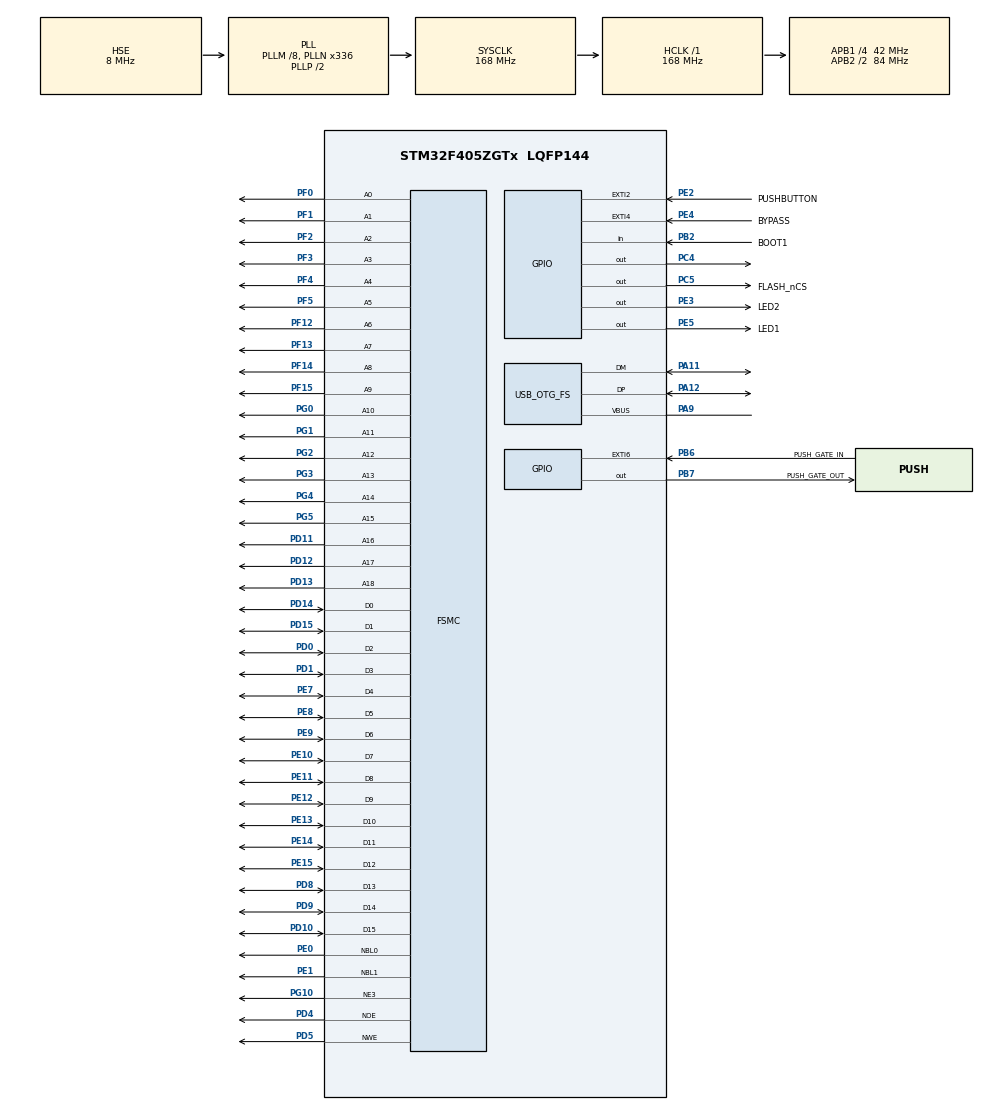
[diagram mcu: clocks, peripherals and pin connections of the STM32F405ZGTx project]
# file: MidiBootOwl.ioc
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FSMC.AddressSetupTime1=2
FSMC.BusTurnAroundDuration1=1
FSMC.DataSetupTime1=2
FSMC.ExtendedMode1=FSMC_EXTENDED_MODE_DISABLE
FSMC.WriteOperation1=FSMC_WRITE_OPERATION_ENABLE
IWDG.Prescaler=IWDG_PRESCALER_128
IWDG.Reload=8*(30000/128)
Mcu.Family=STM32F4
Mcu.Name=STM32F405ZGTx
Mcu.Package=LQFP144
NVIC.EXTI2_IRQn=true\:10\:0\:true\:false\:true\:true\:true
NVIC.OTG_FS_IRQn=true\:0\:0\:false\:false\:true\:true\:true
NVIC.PriorityGroup=NVIC_PRIORITYGROUP_4
PA11.Mode=Device_Only
PA11.Signal=USB_OTG_FS_DM
PA12.Mode=Device_Only
PA12.Signal=USB_OTG_FS_DP
PA13.Mode=Trace_Asynchronous_SW
PA13.Signal=SYS_JTMS-SWDIO
PA14.Mode=Trace_Asynchronous_SW
PA14.Signal=SYS_JTCK-SWCLK
PA9.Mode=Activate_VBUS
PA9.Signal=USB_OTG_FS_VBUS
PB2.GPIO_Label=BOOT1
PB2.Signal=GPIO_Input
PB3.Mode=Trace_Asynchronous_SW
PB3.Signal=SYS_JTDO-SWO
PB6.GPIO_Label=PUSH_GATE_IN
PB6.GPIO_ModeDefaultEXTI=GPIO_MODE_IT_RISING_FALLING
PB6.GPIO_PuPd=GPIO_PULLUP
PB6.Signal=GPXTI6
PB7.GPIO_Label=PUSH_GATE_OUT
PB7.Signal=GPIO_Output
PC4.Signal=GPIO_Output
PC5.GPIO_Label=FLASH_nCS
PC5.Signal=GPIO_Output
PD0.Signal=FSMC_D2_DA2
PD1.Signal=FSMC_D3_DA3
PD10.Signal=FSMC_D15_DA15
PD11.Signal=FSMC_A16_CLE
PD12.Signal=FSMC_A17_ALE
PD13.Signal=FSMC_A18
PD14.Signal=FSMC_D0_DA0
PD15.Signal=FSMC_D1_DA1
PD4.Signal=FSMC_NOE
PD5.Signal=FSMC_NWE
PD8.Signal=FSMC_D13_DA13
PD9.Signal=FSMC_D14_DA14
PE0.Signal=FSMC_NBL0
PE1.Signal=FSMC_NBL1
PE10.Signal=FSMC_D7_DA7
PE11.Signal=FSMC_D8_DA8
PE12.Signal=FSMC_D9_DA9
PE13.Signal=FSMC_D10_DA10
PE14.Signal=FSMC_D11_DA11
PE15.Signal=FSMC_D12_DA12
PE2.GPIO_Label=PUSHBUTTON
PE2.GPIO_ModeDefaultEXTI=GPIO_MODE_IT_RISING_FALLING
PE2.GPIO_PuPd=GPIO_PULLUP
PE2.Signal=GPXTI2
PE3.GPIO_Label=LED2
PE3.Signal=GPIO_Output
PE4.GPIO_Label=BYPASS
PE4.GPIO_ModeDefaultEXTI=GPIO_MODE_IT_RISING_FALLING
PE4.GPIO_PuPd=GPIO_PULLUP
PE4.Signal=GPXTI4
PE5.GPIO_Label=LED1
PE5.Signal=GPIO_Output
PE7.Signal=FSMC_D4_DA4
PE8.Signal=FSMC_D5_DA5
PE9.Signal=FSMC_D6_DA6
PF0.Signal=FSMC_A0
PF1.Signal=FSMC_A1
PF12.Signal=FSMC_A6
PF13.Signal=FSMC_A7
PF14.Signal=FSMC_A8
PF15.Signal=FSMC_A9
PF2.Signal=FSMC_A2
PF3.Signal=FSMC_A3
PF4.Signal=FSMC_A4
PF5.Signal=FSMC_A5
PG0.Signal=FSMC_A10
PG1.Signal=FSMC_A11
PG10.Mode=NorPsramChipSelect3_1
PG10.Signal=FSMC_NE3
PG2.Signal=FSMC_A12
PG3.Signal=FSMC_A13
PG4.Signal=FSMC_A14
PG5.Signal=FSMC_A15
PH0-OSC_IN.Mode=HSE-External-Oscillator
PH0-OSC_IN.Signal=RCC_OSC_IN
PH1-OSC_OUT.Mode=HSE-External-Oscillator
PH1-OSC_OUT.Signal=RCC_OSC_OUT
ProjectManager.HeapSize=0x200
ProjectManager.StackSize=0x400
ProjectManager.TargetToolchain=Makefile
RCC.48MHZClocksFreq_Value=48000000
RCC.AHBFreq_Value=168000000
RCC.APB1CLKDivider=RCC_HCLK_DIV4
RCC.APB1Freq_Value=42000000
RCC.APB1TimFreq_Value=84000000
RCC.APB2CLKDivider=RCC_HCLK_DIV2
RCC.APB2Freq_Value=84000000
RCC.APB2TimFreq_Value=168000000
RCC.CortexFreq_Value=168000000
RCC.HCLKFreq_Value=168000000
RCC.HSE_VALUE=8000000
RCC.HSI_VALUE=16000000
RCC.LSE_VALUE=32768
RCC.PLLI2SN=258
RCC.PLLI2SR=3
RCC.PLLM=8
RCC.PLLN=336
RCC.PLLQ=7
RCC.SYSCLKFreq_VALUE=168000000
RCC.SYSCLKSource=RCC_SYSCLKSOURCE_PLLCLK
RCC.VCOOutputFreq_Value=336000000
SH.FSMC_A0.0=FSMC_A0,19b-a1
SH.FSMC_A1.0=FSMC_A1,19b-a1
SH.FSMC_A10.0=FSMC_A10,19b-a1
SH.FSMC_A11.0=FSMC_A11,19b-a1
SH.FSMC_A12.0=FSMC_A12,19b-a1
SH.FSMC_A13.0=FSMC_A13,19b-a1
SH.FSMC_A14.0=FSMC_A14,19b-a1
SH.FSMC_A15.0=FSMC_A15,19b-a1
SH.FSMC_A16_CLE.0=FSMC_A16,19b-a1
SH.FSMC_A17_ALE.0=FSMC_A17,19b-a1
SH.FSMC_A18.0=FSMC_A18,19b-a1
SH.FSMC_A2.0=FSMC_A2,19b-a1
SH.FSMC_A3.0=FSMC_A3,19b-a1
SH.FSMC_A4.0=FSMC_A4,19b-a1
SH.FSMC_A5.0=FSMC_A5,19b-a1
SH.FSMC_A6.0=FSMC_A6,19b-a1
SH.FSMC_A7.0=FSMC_A7,19b-a1
SH.FSMC_A8.0=FSMC_A8,19b-a1
SH.FSMC_A9.0=FSMC_A9,19b-a1
SH.FSMC_D0_DA0.0=FSMC_D0,16b-d1
SH.FSMC_D10_DA10.0=FSMC_D10,16b-d1
SH.FSMC_D11_DA11.0=FSMC_D11,16b-d1
SH.FSMC_D12_DA12.0=FSMC_D12,16b-d1
SH.FSMC_D13_DA13.0=FSMC_D13,16b-d1
SH.FSMC_D14_DA14.0=FSMC_D14,16b-d1
SH.FSMC_D15_DA15.0=FSMC_D15,16b-d1
SH.FSMC_D1_DA1.0=FSMC_D1,16b-d1
SH.FSMC_D2_DA2.0=FSMC_D2,16b-d1
SH.FSMC_D3_DA3.0=FSMC_D3,16b-d1
SH.FSMC_D4_DA4.0=FSMC_D4,16b-d1
SH.FSMC_D5_DA5.0=FSMC_D5,16b-d1
SH.FSMC_D6_DA6.0=FSMC_D6,16b-d1
SH.FSMC_D7_DA7.0=FSMC_D7,16b-d1
SH.FSMC_D8_DA8.0=FSMC_D8,16b-d1
SH.FSMC_D9_DA9.0=FSMC_D9,16b-d1
SH.FSMC_NBL0.0=FSMC_NBL0,2ByteEnable1
SH.FSMC_NBL1.0=FSMC_NBL1,2ByteEnable1
SH.FSMC_NOE.0=FSMC_NOE,Sram1
SH.FSMC_NWE.0=FSMC_NWE,Sram1
USB_DEVICE.CLASS_NAME_FS=AUDIO
USB_DEVICE.MANUFACTURER_STRING-AUDIO_FS=Rebel Technology
USB_DEVICE.PID_AUDIO_FS=0xDADA
USB_DEVICE.PRODUCT_STRING_AUDIO_FS=OWL-MIDI
USB_DEVICE.SERIALNUMBER_STRING_AUDIO_FS=00000000010A
USB_DEVICE.VID-AUDIO_FS=0x1209
USB_DEVICE.VirtualMode-AUDIO_FS=Audio
USB_DEVICE.VirtualModeFS=Audio_FS
USB_OTG_FS.VirtualMode=Device_Only
VP_IWDG_VS_IWDG.Mode=IWDG_Activate
VP_USB_DEVICE_VS_USB_DEVICE_AUDIO_FS.Mode=AUDIO_FS
board=OwlPedal

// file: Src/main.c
/* USER CODE BEGIN Header */
/**
  ******************************************************************************
  * @file           : main.c
  * @brief          : Main program body
  ******************************************************************************
  * @attention
  *
  * <h2><center>&copy; Copyright (c) 2020 STMicroelectronics.
  * All rights reserved.</center></h2>
  *
  * This software component is licensed by ST under Ultimate Liberty license
  * SLA0044, the "License"; You may not use this file except in compliance with
  * the License. You may obtain a copy of the License at:
  *                             www.st.com/SLA0044
  *
  ******************************************************************************
  */
/* USER CODE END Header */

#include "main.h"
#include "usb_device.h"

/* USER CODE BEGIN Includes */
#include "device.h"
#include "errorhandlers.h"
/* USER CODE END Includes */

IWDG_HandleTypeDef hiwdg;

SRAM_HandleTypeDef hsram1;

/* USER CODE BEGIN PV */
/* Private variables ---------------------------------------------------------*/

/* USER CODE END PV */

void SystemClock_Config(void);
static void MX_GPIO_Init(void);
static void MX_FSMC_Init(void);
static void MX_IWDG_Init(void);
/* USER CODE BEGIN PFP */
/* Private function prototypes -----------------------------------------------*/

static void SDRAM_Init(void){
    /*##-1- Configure the SRAM device ##########################################*/
  /* SRAM device configuration */
  hsram1.Instance  = FSMC_NORSRAM_DEVICE;
  hsram1.Extended  = FSMC_NORSRAM_EXTENDED_DEVICE;

  FSMC_NORSRAM_TimingTypeDef Timing;

  Timing.AddressSetupTime       = 2;
  Timing.AddressHoldTime        = 1;
  Timing.DataSetupTime          = 2;
  Timing.BusTurnAroundDuration  = 1;
  Timing.CLKDivision            = 2;
  Timing.DataLatency            = 2;
  Timing.AccessMode             = FSMC_ACCESS_MODE_A;

  hsram1.Init.NSBank             = FSMC_NORSRAM_BANK3;
  hsram1.Init.DataAddressMux     = FSMC_DATA_ADDRESS_MUX_DISABLE;
  hsram1.Init.MemoryType         = FSMC_MEMORY_TYPE_SRAM;
  hsram1.Init.MemoryDataWidth    = FSMC_NORSRAM_MEM_BUS_WIDTH_16;// = SRAM_MEMORY_WIDTH;
  hsram1.Init.BurstAccessMode    = FSMC_BURST_ACCESS_MODE_DISABLE;
  hsram1.Init.WaitSignalPolarity = FSMC_WAIT_SIGNAL_POLARITY_LOW;
  hsram1.Init.WrapMode           = FSMC_WRAP_MODE_DISABLE;
  hsram1.Init.WaitSignalActive   = FSMC_WAIT_TIMING_BEFORE_WS;
  hsram1.Init.WriteOperation     = FSMC_WRITE_OPERATION_ENABLE;
  hsram1.Init.WaitSignal         = FSMC_WAIT_SIGNAL_DISABLE;
  hsram1.Init.ExtendedMode       = FSMC_EXTENDED_MODE_DISABLE;
  hsram1.Init.AsynchronousWait   = FSMC_ASYNCHRONOUS_WAIT_DISABLE;
  hsram1.Init.WriteBurst         = FSMC_WRITE_BURST_DISABLE;

  if (HAL_SRAM_Init(&hsram1, &Timing, NULL) != HAL_OK)
  {
    Error_Handler();
  }
}

void SystemInit_ExtMemCtl(void)
{
  __HAL_RCC_FSMC_CLK_ENABLE();
  __HAL_RCC_GPIOD_CLK_ENABLE();
  __HAL_RCC_GPIOE_CLK_ENABLE();
  __HAL_RCC_GPIOF_CLK_ENABLE();
  __HAL_RCC_GPIOG_CLK_ENABLE();

  GPIO_InitTypeDef GPIO_InitStruct;
  GPIO_InitStruct.Mode = GPIO_MODE_AF_PP;
  GPIO_InitStruct.Pull = GPIO_NOPULL;
  GPIO_InitStruct.Speed = GPIO_SPEED_FREQ_VERY_HIGH;
  GPIO_InitStruct.Alternate = GPIO_AF12_FSMC;

  /* GPIOD configuration */
  GPIO_InitStruct.Pin = GPIO_PIN_0  | GPIO_PIN_1  | GPIO_PIN_4  | GPIO_PIN_5  |
    GPIO_PIN_8  | GPIO_PIN_9  | GPIO_PIN_10 | GPIO_PIN_11 |
    GPIO_PIN_12 | GPIO_PIN_13 | GPIO_PIN_14 | GPIO_PIN_15;
  HAL_GPIO_Init(GPIOD, &GPIO_InitStruct);

  /* GPIOE configuration */
  GPIO_InitStruct.Pin = GPIO_PIN_0  | GPIO_PIN_1  | GPIO_PIN_2  | GPIO_PIN_3 |
    GPIO_PIN_4  | GPIO_PIN_5  | GPIO_PIN_6  | GPIO_PIN_7 |
    GPIO_PIN_8  | GPIO_PIN_9  | GPIO_PIN_10 | GPIO_PIN_11|
    GPIO_PIN_12 | GPIO_PIN_13 | GPIO_PIN_14 | GPIO_PIN_15;
  HAL_GPIO_Init(GPIOE, &GPIO_InitStruct);

  /* GPIOF configuration */
  GPIO_InitStruct.Pin = GPIO_PIN_0  | GPIO_PIN_1  | GPIO_PIN_2  | GPIO_PIN_3  |
    GPIO_PIN_4  | GPIO_PIN_5  | GPIO_PIN_12 | GPIO_PIN_13 |
    GPIO_PIN_14 | GPIO_PIN_15;
  HAL_GPIO_Init(GPIOF, &GPIO_InitStruct);

  /* GPIOG configuration */
  GPIO_InitStruct.Pin = GPIO_PIN_0  | GPIO_PIN_1  | GPIO_PIN_2  | GPIO_PIN_3 |
    GPIO_PIN_4  | GPIO_PIN_5  | GPIO_PIN_10;
  /*                                 GPIO_Pin_4  | GPIO_Pin_5  |GPIO_Pin_9;       */
  HAL_GPIO_Init(GPIOG, &GPIO_InitStruct);
}

void setup();
void loop(void);
void setMessage(const char* msg);

typedef  void (*pFunction)(void);

static int testMagic(){
  return *OWLBOOT_MAGIC_ADDRESS == OWLBOOT_MAGIC_NUMBER;
}

static int testButton(){
#ifdef USE_BOOT1_PIN
  return !(BOOT1_GPIO_Port->IDR & BOOT1_Pin);
#else
  return 0;
#endif
}

static int testNoProgram(){
  return ((*(__IO uint32_t*)(APPLICATION_ADDRESS + 4)) & 0xFFF00000 ) != 0x08000000;
  /* Check Vector Table: Test if valid Reset_Handler pointer is programmed after APPLICATION_ADDRESS */
}

static int testWatchdogReset(){
  return __HAL_RCC_GET_FLAG(RCC_FLAG_IWDGRST) != RESET;
}

/* USER CODE END PFP */

int main(void)
{

  /* MCU Configuration--------------------------------------------------------*/

  /* Reset of all peripherals, Initializes the Flash interface and the Systick. */
  HAL_Init();

  /* Configure the system clock */
  SystemClock_Config();

  /* USER CODE BEGIN SysInit */

  SystemInit_ExtMemCtl();
  MX_GPIO_Init();
  MX_IWDG_Init();

  if(testMagic()){
    // we're going to boot
    setMessage("Bootloader starting");
  }else if(testButton()){
    setMessage("Bootloader requested");
  }else if(testWatchdogReset()){
    error(RUNTIME_ERROR, "Watchdog reset");
  }else if(testNoProgram()){
    error(RUNTIME_ERROR, "No valid firmware");
  }else{
    // jump to application code

    /* Disable all interrupts */
    RCC->CIR = 0x00000000;

    /* Jump to user application */
    uint32_t JumpAddress = *(__IO uint32_t*) (APPLICATION_ADDRESS + 4);
    pFunction jumpToApplication = (pFunction) JumpAddress;
    /* Initialize user application's Stack Pointer */
    __set_MSP(*(__IO uint32_t*) APPLICATION_ADDRESS);
    jumpToApplication();
    for(;;);
  }
  /* Clear reset flags */
  __HAL_RCC_CLEAR_RESET_FLAGS();

  /* Clear magic */
  *OWLBOOT_MAGIC_ADDRESS = 0;

  /* USER CODE END SysInit */

  /* Initialize all configured peripherals */
  MX_FSMC_Init();
  MX_IWDG_Init();
  MX_USB_DEVICE_Init();
  /* USER CODE BEGIN 2 */

  SDRAM_Init();

  // Initialise
  setup();

  /* USER CODE END 2 */

  /* Infinite loop */
  /* USER CODE BEGIN WHILE */
  while (1)
  {
    loop();
#ifdef USE_IWDG
    IWDG->KR = 0xaaaa; // reset the watchdog timer
#endif
    /* USER CODE END WHILE */

  }
}

void SystemClock_Config(void)
{
  RCC_OscInitTypeDef RCC_OscInitStruct = {0};
  RCC_ClkInitTypeDef RCC_ClkInitStruct = {0};

  /** Configure the main internal regulator output voltage
  */
  __HAL_RCC_PWR_CLK_ENABLE();
  __HAL_PWR_VOLTAGESCALING_CONFIG(PWR_REGULATOR_VOLTAGE_SCALE1);
  /** Initializes the CPU, AHB and APB busses clocks
  */
  RCC_OscInitStruct.OscillatorType = RCC_OSCILLATORTYPE_LSI|RCC_OSCILLATORTYPE_HSE;
  RCC_OscInitStruct.HSEState = RCC_HSE_ON;
  RCC_OscInitStruct.LSIState = RCC_LSI_ON;
  RCC_OscInitStruct.PLL.PLLState = RCC_PLL_ON;
  RCC_OscInitStruct.PLL.PLLSource = RCC_PLLSOURCE_HSE;
  RCC_OscInitStruct.PLL.PLLM = 8;
  RCC_OscInitStruct.PLL.PLLN = 336;
  RCC_OscInitStruct.PLL.PLLP = RCC_PLLP_DIV2;
  RCC_OscInitStruct.PLL.PLLQ = 7;
  if (HAL_RCC_OscConfig(&RCC_OscInitStruct) != HAL_OK)
  {
    Error_Handler();
  }
  /** Initializes the CPU, AHB and APB busses clocks
  */
  RCC_ClkInitStruct.ClockType = RCC_CLOCKTYPE_HCLK|RCC_CLOCKTYPE_SYSCLK
                              |RCC_CLOCKTYPE_PCLK1|RCC_CLOCKTYPE_PCLK2;
  RCC_ClkInitStruct.SYSCLKSource = RCC_SYSCLKSOURCE_PLLCLK;
  RCC_ClkInitStruct.AHBCLKDivider = RCC_SYSCLK_DIV1;
  RCC_ClkInitStruct.APB1CLKDivider = RCC_HCLK_DIV4;
  RCC_ClkInitStruct.APB2CLKDivider = RCC_HCLK_DIV2;

  if (HAL_RCC_ClockConfig(&RCC_ClkInitStruct, FLASH_LATENCY_5) != HAL_OK)
  {
    Error_Handler();
  }
}

static void MX_IWDG_Init(void)
{

  /* USER CODE BEGIN IWDG_Init 1 */
#ifdef USE_IWDG
  /* USER CODE END IWDG_Init 1 */
  hiwdg.Instance = IWDG;
  hiwdg.Init.Prescaler = IWDG_PRESCALER_128;
  hiwdg.Init.Reload = 8*(30000/128);
  if (HAL_IWDG_Init(&hiwdg) != HAL_OK)
  {
    Error_Handler();
  }
  /* USER CODE BEGIN IWDG_Init 2 */
#endif
  /* USER CODE END IWDG_Init 2 */

}

static void MX_GPIO_Init(void)
{
  GPIO_InitTypeDef GPIO_InitStruct = {0};

  /* GPIO Ports Clock Enable */
  __HAL_RCC_GPIOE_CLK_ENABLE();
  __HAL_RCC_GPIOC_CLK_ENABLE();
  __HAL_RCC_GPIOF_CLK_ENABLE();
  __HAL_RCC_GPIOH_CLK_ENABLE();
  __HAL_RCC_GPIOA_CLK_ENABLE();
  __HAL_RCC_GPIOB_CLK_ENABLE();
  __HAL_RCC_GPIOG_CLK_ENABLE();
  __HAL_RCC_GPIOD_CLK_ENABLE();

  /*Configure GPIO pin Output Level */
  HAL_GPIO_WritePin(GPIOE, LED2_Pin|LED1_Pin, GPIO_PIN_RESET);

  /*Configure GPIO pin Output Level */
  HAL_GPIO_WritePin(GPIOC, GPIO_PIN_4|FLASH_nCS_Pin, GPIO_PIN_RESET);

  /*Configure GPIO pin Output Level */
  HAL_GPIO_WritePin(PUSH_GATE_OUT_GPIO_Port, PUSH_GATE_OUT_Pin, GPIO_PIN_RESET);

  /*Configure GPIO pins : PUSHBUTTON_Pin BYPASS_Pin */
  GPIO_InitStruct.Pin = PUSHBUTTON_Pin|BYPASS_Pin;
  GPIO_InitStruct.Mode = GPIO_MODE_IT_RISING_FALLING;
  GPIO_InitStruct.Pull = GPIO_PULLUP;
  HAL_GPIO_Init(GPIOE, &GPIO_InitStruct);

  /*Configure GPIO pins : LED2_Pin LED1_Pin */
  GPIO_InitStruct.Pin = LED2_Pin|LED1_Pin;
  GPIO_InitStruct.Mode = GPIO_MODE_OUTPUT_PP;
  GPIO_InitStruct.Pull = GPIO_NOPULL;
  GPIO_InitStruct.Speed = GPIO_SPEED_FREQ_LOW;
  HAL_GPIO_Init(GPIOE, &GPIO_InitStruct);

  /*Configure GPIO pin : PE6 */
  GPIO_InitStruct.Pin = GPIO_PIN_6;
  GPIO_InitStruct.Mode = GPIO_MODE_ANALOG;
  GPIO_InitStruct.Pull = GPIO_NOPULL;
  HAL_GPIO_Init(GPIOE, &GPIO_InitStruct);

  /*Configure GPIO pins : PC13 PC14 PC15 PC0
                           PC1 PC2 PC3 PC6
                           PC7 PC8 PC9 PC10
                           PC11 PC12 */
  GPIO_InitStruct.Pin = GPIO_PIN_13|GPIO_PIN_14|GPIO_PIN_15|GPIO_PIN_0
                          |GPIO_PIN_1|GPIO_PIN_2|GPIO_PIN_3|GPIO_PIN_6
                          |GPIO_PIN_7|GPIO_PIN_8|GPIO_PIN_9|GPIO_PIN_10
                          |GPIO_PIN_11|GPIO_PIN_12;
  GPIO_InitStruct.Mode = GPIO_MODE_ANALOG;
  GPIO_InitStruct.Pull = GPIO_NOPULL;
  HAL_GPIO_Init(GPIOC, &GPIO_InitStruct);

  /*Configure GPIO pins : PF6 PF7 PF8 PF9
                           PF10 PF11 */
  GPIO_InitStruct.Pin = GPIO_PIN_6|GPIO_PIN_7|GPIO_PIN_8|GPIO_PIN_9
                          |GPIO_PIN_10|GPIO_PIN_11;
  GPIO_InitStruct.Mode = GPIO_MODE_ANALOG;
  GPIO_InitStruct.Pull = GPIO_NOPULL;
  HAL_GPIO_Init(GPIOF, &GPIO_InitStruct);

  /*Configure GPIO pins : PA0 PA1 PA2 PA3
                           PA4 PA5 PA6 PA7
                           PA8 PA10 PA15 */
  GPIO_InitStruct.Pin = GPIO_PIN_0|GPIO_PIN_1|GPIO_PIN_2|GPIO_PIN_3
                          |GPIO_PIN_4|GPIO_PIN_5|GPIO_PIN_6|GPIO_PIN_7
                          |GPIO_PIN_8|GPIO_PIN_10|GPIO_PIN_15;
  GPIO_InitStruct.Mode = GPIO_MODE_ANALOG;
  GPIO_InitStruct.Pull = GPIO_NOPULL;
  HAL_GPIO_Init(GPIOA, &GPIO_InitStruct);

  /*Configure GPIO pins : PC4 FLASH_nCS_Pin */
  GPIO_InitStruct.Pin = GPIO_PIN_4|FLASH_nCS_Pin;
  GPIO_InitStruct.Mode = GPIO_MODE_OUTPUT_PP;
  GPIO_InitStruct.Pull = GPIO_NOPULL;
  GPIO_InitStruct.Speed = GPIO_SPEED_FREQ_LOW;
  HAL_GPIO_Init(GPIOC, &GPIO_InitStruct);

  /*Configure GPIO pins : PB0 PB1 PB10 PB11
                           PB12 PB13 PB14 PB15
                           PB4 PB5 PB8 PB9 */
  GPIO_InitStruct.Pin = GPIO_PIN_0|GPIO_PIN_1|GPIO_PIN_10|GPIO_PIN_11
                          |GPIO_PIN_12|GPIO_PIN_13|GPIO_PIN_14|GPIO_PIN_15
                          |GPIO_PIN_4|GPIO_PIN_5|GPIO_PIN_8|GPIO_PIN_9;
  GPIO_InitStruct.Mode = GPIO_MODE_ANALOG;
  GPIO_InitStruct.Pull = GPIO_NOPULL;
  HAL_GPIO_Init(GPIOB, &GPIO_InitStruct);

  /*Configure GPIO pin : BOOT1_Pin */
  GPIO_InitStruct.Pin = BOOT1_Pin;
  GPIO_InitStruct.Mode = GPIO_MODE_INPUT;
  GPIO_InitStruct.Pull = GPIO_NOPULL;
  HAL_GPIO_Init(BOOT1_GPIO_Port, &GPIO_InitStruct);

  /*Configure GPIO pins : PG6 PG7 PG8 PG9
                           PG11 PG12 PG13 PG14
                           PG15 */
  GPIO_InitStruct.Pin = GPIO_PIN_6|GPIO_PIN_7|GPIO_PIN_8|GPIO_PIN_9
                          |GPIO_PIN_11|GPIO_PIN_12|GPIO_PIN_13|GPIO_PIN_14
                          |GPIO_PIN_15;
  GPIO_InitStruct.Mode = GPIO_MODE_ANALOG;
  GPIO_InitStruct.Pull = GPIO_NOPULL;
  HAL_GPIO_Init(GPIOG, &GPIO_InitStruct);

  /*Configure GPIO pins : PD2 PD3 PD6 PD7 */
  GPIO_InitStruct.Pin = GPIO_PIN_2|GPIO_PIN_3|GPIO_PIN_6|GPIO_PIN_7;
  GPIO_InitStruct.Mode = GPIO_MODE_ANALOG;
  GPIO_InitStruct.Pull = GPIO_NOPULL;
  HAL_GPIO_Init(GPIOD, &GPIO_InitStruct);

  /*Configure GPIO pin : PUSH_GATE_IN_Pin */
  GPIO_InitStruct.Pin = PUSH_GATE_IN_Pin;
  GPIO_InitStruct.Mode = GPIO_MODE_IT_RISING_FALLING;
  GPIO_InitStruct.Pull = GPIO_PULLUP;
  HAL_GPIO_Init(PUSH_GATE_IN_GPIO_Port, &GPIO_InitStruct);

  /*Configure GPIO pin : PUSH_GATE_OUT_Pin */
  GPIO_InitStruct.Pin = PUSH_GATE_OUT_Pin;
  GPIO_InitStruct.Mode = GPIO_MODE_OUTPUT_PP;
  GPIO_InitStruct.Pull = GPIO_NOPULL;
  GPIO_InitStruct.Speed = GPIO_SPEED_FREQ_LOW;
  HAL_GPIO_Init(PUSH_GATE_OUT_GPIO_Port, &GPIO_InitStruct);

  /* EXTI interrupt init*/
  HAL_NVIC_SetPriority(EXTI2_IRQn, 10, 0);
  HAL_NVIC_EnableIRQ(EXTI2_IRQn);

}

/* FSMC initialization function */
static void MX_FSMC_Init(void)
{

  FSMC_NORSRAM_TimingTypeDef Timing = {0};

  /** Perform the SRAM1 memory initialization sequence
  */
  hsram1.Instance = FSMC_NORSRAM_DEVICE;
  hsram1.Extended = FSMC_NORSRAM_EXTENDED_DEVICE;
  /* hsram1.Init */
  hsram1.Init.NSBank = FSMC_NORSRAM_BANK3;
  hsram1.Init.DataAddressMux = FSMC_DATA_ADDRESS_MUX_DISABLE;
  hsram1.Init.MemoryType = FSMC_MEMORY_TYPE_SRAM;
  hsram1.Init.MemoryDataWidth = FSMC_NORSRAM_MEM_BUS_WIDTH_16;
  hsram1.Init.BurstAccessMode = FSMC_BURST_ACCESS_MODE_DISABLE;
  hsram1.Init.WaitSignalPolarity = FSMC_WAIT_SIGNAL_POLARITY_LOW;
  hsram1.Init.WrapMode = FSMC_WRAP_MODE_DISABLE;
  hsram1.Init.WaitSignalActive = FSMC_WAIT_TIMING_BEFORE_WS;
  hsram1.Init.WriteOperation = FSMC_WRITE_OPERATION_ENABLE;
  hsram1.Init.WaitSignal = FSMC_WAIT_SIGNAL_DISABLE;
  hsram1.Init.ExtendedMode = FSMC_EXTENDED_MODE_DISABLE;
  hsram1.Init.AsynchronousWait = FSMC_ASYNCHRONOUS_WAIT_DISABLE;
  hsram1.Init.WriteBurst = FSMC_WRITE_BURST_DISABLE;
  hsram1.Init.PageSize = FSMC_PAGE_SIZE_NONE;
  /* Timing */
  Timing.AddressSetupTime = 2;
  Timing.AddressHoldTime = 15;
  Timing.DataSetupTime = 2;
  Timing.BusTurnAroundDuration = 1;
  Timing.CLKDivision = 16;
  Timing.DataLatency = 17;
  Timing.AccessMode = FSMC_ACCESS_MODE_A;
  /* ExtTiming */

  if (HAL_SRAM_Init(&hsram1, &Timing, NULL) != HAL_OK)
  {
    Error_Handler( );
  }

}

void Error_Handler(void)
{
  /* USER CODE BEGIN Error_Handler_Debug */
#ifdef DEBUG
  __asm__("BKPT");
#else
  NVIC_SystemReset();
#endif
  /* USER CODE END Error_Handler_Debug */
}

#ifdef  USE_FULL_ASSERT
/**
  * @brief  Reports the name of the source file and the source line number
  *         where the assert_param error has occurred.
  * @param  file: pointer to the source file name
  * @param  line: assert_param error line source number
  * @retval None
  */
void assert_failed(uint8_t *file, uint32_t line)
{
  /* USER CODE BEGIN 6 */
#ifdef DEBUG
  __asm__("BKPT");
#else
  NVIC_SystemReset();
#endif
  /* USER CODE END 6 */
}
#endif /* USE_FULL_ASSERT */

/************************ (C) COPYRIGHT STMicroelectronics *****END OF FILE****/
